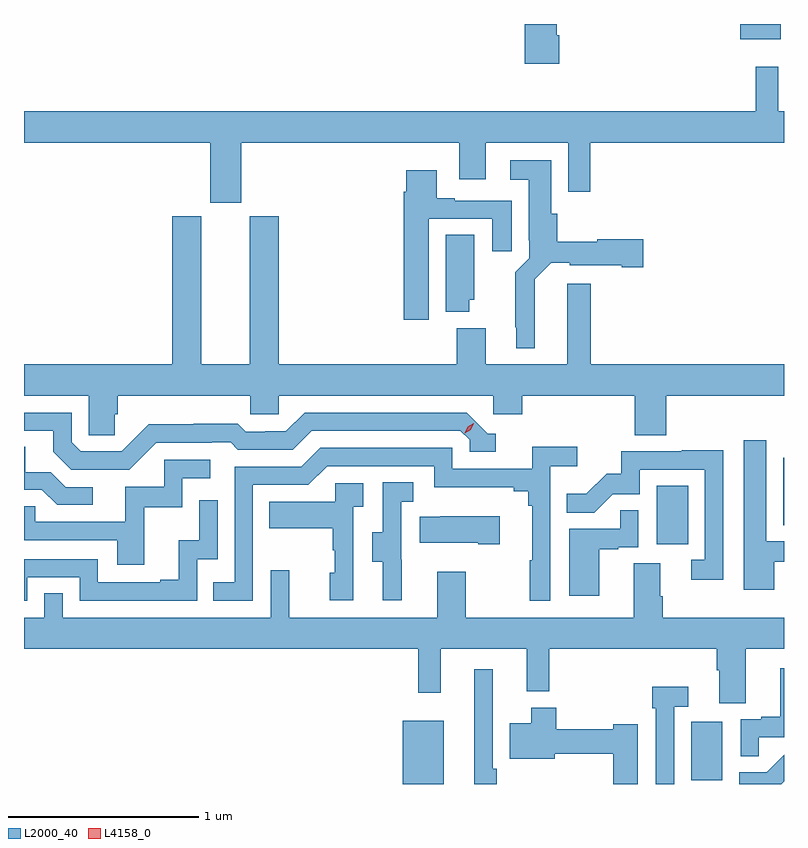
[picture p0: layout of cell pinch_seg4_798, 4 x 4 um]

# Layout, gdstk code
import gdstk
lib = gdstk.Library(unit=1e-6, precision=1e-09)
def R(c, l, rs):  # rectangles x0, y0, x1, y1
    for r in rs: c.add(gdstk.rectangle(r[:2], r[2:], *l))
def P(c, l, *ps):  # polygons
    for p in ps: c.add(gdstk.Polygon(p, *l))
L2000_40 = (2000, 40)
L4158_0 = (4158, 0)

pinch_seg4_798 = lib.new_cell('pinch_seg4_798')
R(pinch_seg4_798, L2000_40, [(819.59,805.432,819.805,805.765), (821.108,805.452,821.272,805.759), (820.928,806.694,821.092,807.001), (821.594,806.794,821.597,807.148), (821.366,809.351,821.581,809.432)])
P(pinch_seg4_798, L2000_40, [(820.415,809.373),(820.402,809.373),(820.402,809.432),(820.232,809.432),(820.232,809.223),(820.415,809.223)],
  [(818.74,808.808),(819.887,808.808),(819.887,808.614),(820.027,808.614),(820.027,808.808),(820.461,808.808),(820.461,808.548),(820.577,808.548),(820.577,808.808),(821.597,808.808),(821.597,808.972),(821.567,808.972),(821.567,809.206),(821.449,809.206),(821.449,808.972),(817.597,808.972),(817.597,808.808),(818.576,808.808),(818.576,808.491),(818.74,808.491)],
  [(820.285,808.088),(820.371,808.175),(820.47,808.175),(820.47,808.163),(820.742,808.163),(820.742,808.151),(820.855,808.151),(820.855,808.298),(820.614,808.298),(820.614,808.285),(820.403,808.285),(820.403,808.434),(820.372,808.434),(820.372,808.714),(820.155,808.714),(820.155,808.613),(820.253,808.613),(820.253,808.294),(820.257,808.294),(820.257,808.2),(820.183,808.126),(820.183,807.835),(820.187,807.835),(820.187,807.725),(820.285,807.725)],
  [(819.727,808.407),(820.061,808.407),(820.061,808.236),(820.165,808.236),(820.165,808.503),(819.865,808.503),(819.865,808.516),(819.769,808.516),(819.769,808.663),(819.608,808.663),(819.608,808.55),(819.596,808.55),(819.596,807.876),(819.727,807.876)],
  [(818.075,807.378),(818.09,807.378),(818.09,807.476),(818.787,807.476),(818.787,807.378),(818.937,807.378),(818.937,807.476),(820.068,807.476),(820.068,807.378),(820.22,807.378),(820.22,807.476),(820.811,807.476),(820.811,807.268),(820.976,807.268),(820.976,807.476),(821.597,807.476),(821.597,807.64),(820.58,807.64),(820.58,808.066),(820.457,808.066),(820.457,807.64),(820.027,807.64),(820.027,807.832),(819.875,807.832),(819.875,807.64),(818.939,807.64),(818.939,808.419),(818.786,808.419),(818.786,807.64),(818.53,807.64),(818.53,808.419),(818.378,808.419),(818.378,807.64),(817.597,807.64),(817.597,807.476),(817.938,807.476),(817.938,807.268),(818.075,807.268)],
  [(819.94,807.981),(819.967,807.981),(819.967,808.322),(819.818,808.322),(819.818,807.917),(819.94,807.917)],
  [(818.292,807.228),(818.585,807.228),(818.585,807.231),(818.684,807.231),(818.723,807.192),(819.012,807.192),(819.111,807.291),(819.894,807.291),(819.942,807.243),(819.942,807.18),(820.081,807.18),(820.081,807.276),(820.038,807.276),(819.927,807.387),(819.074,807.387),(818.975,807.288),(818.868,807.288),(818.868,807.285),(818.765,807.285),(818.723,807.328),(818.49,807.328),(818.49,807.325),(818.254,807.325),(818.112,807.183),(817.896,807.183),(817.848,807.231),(817.848,807.387),(817.597,807.387),(817.597,807.291),(817.751,807.291),(817.751,807.181),(817.845,807.087),(818.151,807.087)],
  [(821.545,806.601),(821.597,806.601),(821.597,806.709),(821.503,806.709),(821.503,807.241),(821.384,807.241),(821.384,806.454),(821.545,806.454)],
  [(817.96,806.994),(817.818,806.994),(817.738,807.074),(817.603,807.074),(817.603,807.206),(817.597,807.206),(817.597,806.982),(817.691,806.982),(817.772,806.901),(817.96,806.901)],
  [(818.802,807.006),(819.093,807.006),(819.192,807.105),(819.756,807.105),(819.756,806.993),(820.175,806.993),(820.175,806.974),(820.252,806.974),(820.252,806.897),(820.271,806.897),(820.271,806.609),(820.26,806.609),(820.26,806.397),(820.368,806.397),(820.368,807.104),(820.51,807.104),(820.51,807.206),(820.271,807.206),(820.271,807.09),(819.852,807.09),(819.852,807.201),(819.155,807.201),(819.056,807.102),(818.706,807.102),(818.706,806.493),(818.593,806.493),(818.593,806.397),(818.802,806.397)],
  [(821.277,807.188),(821.059,807.188),(821.059,807.183),(820.741,807.183),(820.741,807.066),(820.664,807.066),(820.557,806.959),(820.453,806.959),(820.453,806.86),(820.597,806.86),(820.695,806.958),(820.839,806.958),(820.839,807.087),(821.181,807.087),(821.181,806.613),(821.109,806.613),(821.109,806.508),(821.277,806.508)],
  [(818.231,806.889),(818.43,806.889),(818.43,807.042),(818.578,807.042),(818.578,807.138),(818.334,807.138),(818.334,806.997),(818.129,806.997),(818.129,806.811),(817.655,806.811),(817.655,806.895),(817.597,806.895),(817.597,806.715),(818.087,806.715),(818.087,806.586),(818.231,806.586)],
  [(819.584,806.613),(819.582,806.613),(819.582,806.917),(819.646,806.917),(819.646,807.02),(819.486,807.02),(819.486,806.757),(819.431,806.757),(819.431,806.602),(819.485,806.602),(819.485,806.4),(819.584,806.4)],
  [(819.33,806.891),(819.382,806.891),(819.382,807.015),(819.234,807.015),(819.234,806.917),(818.887,806.917),(818.887,806.777),(819.222,806.777),(819.222,806.663),(819.232,806.663),(819.232,806.544),(819.206,806.544),(819.206,806.4),(819.33,806.4)],
  [(817.614,806.52),(817.89,806.52),(817.89,806.397),(818.508,806.397),(818.508,806.616),(818.616,806.616),(818.616,806.926),(818.52,806.926),(818.52,806.714),(818.411,806.714),(818.411,806.506),(818.315,806.506),(818.315,806.493),(817.986,806.493),(817.986,806.616),(817.597,806.616),(817.597,806.397),(817.614,806.397)],
  [(820.624,806.667),(820.724,806.667),(820.724,806.679),(820.83,806.679),(820.83,806.873),(820.735,806.873),(820.735,806.775),(820.466,806.775),(820.466,806.424),(820.624,806.424)],
  [(820.102,806.842),(819.787,806.842),(819.787,806.839),(819.679,806.839),(819.679,806.702),(819.989,806.702),(819.989,806.695),(820.102,806.695)],
  [(819.921,806.548),(819.773,806.548),(819.773,806.308),(818.993,806.308),(818.993,806.557),(818.895,806.557),(818.895,806.308),(817.8,806.308),(817.8,806.435),(817.704,806.435),(817.704,806.308),(817.597,806.308),(817.597,806.144),(819.673,806.144),(819.673,805.911),(819.791,805.911),(819.791,806.144),(820.244,806.144),(820.244,805.919),(820.361,805.919),(820.361,806.144),(821.243,806.144),(821.243,806.032),(821.255,806.032),(821.255,805.858),(821.395,805.858),(821.395,806.144),(821.597,806.144),(821.597,806.308),(820.958,806.308),(820.958,806.42),(820.945,806.42),(820.945,806.594),(820.805,806.594),(820.805,806.308),(819.921,806.308)],
  [(821.465,805.677),(821.597,805.677),(821.597,806.041),(821.576,806.041),(821.576,805.786),(821.477,805.786),(821.477,805.773),(821.37,805.773),(821.37,805.579),(821.465,805.579)],
  [(820.085,805.513),(820.065,805.513),(820.065,806.035),(819.968,806.035),(819.968,805.432),(820.085,805.432)],
  [(821.019,805.839),(821.092,805.839),(821.092,805.945),(820.903,805.945),(820.903,805.832),(820.923,805.832),(820.923,805.432),(821.019,805.432)],
  [(820.828,805.746),(820.699,805.746),(820.699,805.72),(820.398,805.72),(820.398,805.834),(820.268,805.834),(820.268,805.753),(820.154,805.753),(820.154,805.565),(820.39,805.565),(820.39,805.591),(820.699,805.591),(820.699,805.432),(820.828,805.432)],
  [(821.597,805.447),(821.597,805.586),(821.505,805.494),(821.361,805.494),(821.361,805.432),(821.582,805.432)])
P(pinch_seg4_798, L4158_0, [(819.916,807.279),(819.916,807.279),(819.933,807.311),(819.964,807.33),(819.964,807.33),(819.964,807.329),(819.947,807.297),(819.917,807.279)])

lib.write_gds('pinch_seg4_798.gds')
